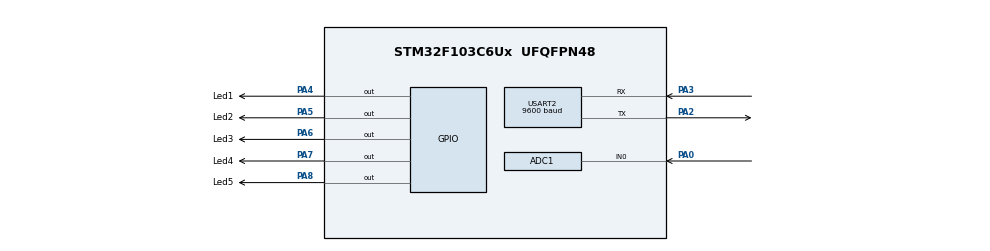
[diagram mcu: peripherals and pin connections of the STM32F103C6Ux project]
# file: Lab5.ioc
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ADC1.Channel-0\#ChannelRegularConversion=ADC_CHANNEL_0
ADC1.ContinuousConvMode=ENABLE
ADC1.NbrOfConversionFlag=1
ADC1.Rank-0\#ChannelRegularConversion=1
ADC1.SamplingTime-0\#ChannelRegularConversion=ADC_SAMPLETIME_1CYCLE_5
ADC1.master=1
Mcu.Family=STM32F1
Mcu.Name=STM32F103C6Ux
Mcu.Package=UFQFPN48
NVIC.PriorityGroup=NVIC_PRIORITYGROUP_4
NVIC.TIM2_IRQn=true\:0\:0\:false\:false\:true\:true\:true
NVIC.USART2_IRQn=true\:0\:0\:false\:false\:true\:true\:true
PA0-WKUP.Signal=ADCx_IN0
PA2.Mode=Asynchronous
PA2.Signal=USART2_TX
PA3.Mode=Asynchronous
PA3.Signal=USART2_RX
PA4.GPIO_Label=Led1
PA4.Signal=GPIO_Output
PA5.GPIO_Label=Led2
PA5.Signal=GPIO_Output
PA6.GPIO_Label=Led3
PA6.Signal=GPIO_Output
PA7.GPIO_Label=Led4
PA7.Signal=GPIO_Output
PA8.GPIO_Label=Led5
PA8.Signal=GPIO_Output
ProjectManager.HeapSize=0x200
ProjectManager.StackSize=0x400
ProjectManager.TargetToolchain=STM32CubeIDE
RCC.APB1Freq_Value=8000000
RCC.APB2Freq_Value=8000000
SH.ADCx_IN0.0=ADC1_IN0,IN0
TIM2.Period=9
TIM2.Prescaler=7999
USART2.BaudRate=9600
USART2.VirtualMode=VM_ASYNC
VP_SYS_VS_ND.Mode=No_Debug
VP_TIM2_VS_ClockSourceINT.Mode=Internal
board=custom

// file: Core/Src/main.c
/* USER CODE BEGIN Header */
/**
  ******************************************************************************
  * @file           : main.c
  * @brief          : Main program body
  ******************************************************************************
  * @attention
  *
  * <h2><center>&copy; Copyright (c) 2023 STMicroelectronics.
  * All rights reserved.</center></h2>
  *
  * This software component is licensed by ST under BSD 3-Clause license,
  * the "License"; You may not use this file except in compliance with the
  * License. You may obtain a copy of the License at:
  *                        opensource.org/licenses/BSD-3-Clause
  *
  ******************************************************************************
  */
/* USER CODE END Header */
#include "main.h"

/* USER CODE BEGIN Includes */
#include "scheduler.h"
#include <stdint.h>
#include <stdio.h>
#include <stdlib.h>
#include <string.h>
#include "software_timer.h"
#include "led_control.h"
/* USER CODE END Includes */

ADC_HandleTypeDef hadc1;

TIM_HandleTypeDef htim2;

UART_HandleTypeDef huart2;

void SystemClock_Config(void);
static void MX_GPIO_Init(void);
static void MX_TIM2_Init(void);
static void MX_USART2_UART_Init(void);
static void MX_ADC1_Init(void);

/* USER CODE BEGIN 0 */
# define MAX_BUFFER_SIZE 30

typedef enum {
	INIT,
	INPUT
} eCmdState;

typedef enum {
	BEGIN,
	IDLE,
	RST,
	ADC,
	OK
} eComState;

eComState com_state = IDLE;
eComState prev_state = IDLE;
eCmdState cmd_state = INIT;

uint8_t temp = 0;
uint8_t buffer [MAX_BUFFER_SIZE];
uint8_t index_buffer = 0;
uint8_t buffer_flag = 0;

char data[MAX_BUFFER_SIZE];
int index_data = 0;
uint32_t ADC_value = 0;
char str[30];
void HAL_UART_RxCpltCallback(UART_HandleTypeDef *huart){
	if (huart->Instance == USART2){
		HAL_UART_Transmit(&huart2, &temp, 1, 50);
		buffer[index_buffer++]=temp;
		if (index_buffer == MAX_BUFFER_SIZE) index_buffer = 0;
		buffer_flag = 1;
		HAL_UART_Receive_IT(&huart2, &temp, 1);
	}
}

void command_parser_fsm(){
	switch (cmd_state){
	case INIT:
		if (buffer[index_buffer-1] == '!') {
			cmd_state = INPUT;
		}
		memset(data, '\0', sizeof(data));
		index_data = 0;
		break;
	case INPUT:
		if (buffer[index_buffer - 1] == '!') {
			index_data = 0;
		}
		else if (buffer[index_buffer - 1] == '#'){
			cmd_state = INIT;
			com_state = BEGIN;
		}
		else {
			data[index_data] = buffer[index_buffer - 1];
			index_data++;
		}
		break;
	default:
		break;
	}
}

void uart_communication_fsm(){
	switch (com_state){
	case BEGIN:
		if (strcmp(data,"RST") == 0) com_state = RST;
		else if (strcmp(data,"OK") == 0) com_state = OK;
		else {
			if (prev_state == RST) com_state = ADC;
			else if (prev_state == ADC) com_state = RST;
			else com_state = IDLE;
		}
		memset(data, '\0', sizeof(data));
		index_data = 0;

		break;

	case IDLE:
		prev_state = IDLE;
		break;

	case RST:
		HAL_ADC_Start(&hadc1);
		ADC_value = HAL_ADC_GetValue(&hadc1);
		HAL_ADC_Stop(&hadc1);
		HAL_UART_Transmit(&huart2, (void*)str, sprintf(str,"!ADC=%ld#\r\n",ADC_value), 100);
		setTimer1(300);
		prev_state = RST;
		com_state = ADC;
		break;

	case ADC:
		if (timer1_flag == 1){
			prev_state = ADC;
			com_state = RST;
		}
		break;

	case OK:
		setTimer1(0);
		prev_state = OK;
		com_state = IDLE;
		break;
	default:
		break;
	}
}

void command(){
	if (buffer_flag == 1){
	  command_parser_fsm();
	  buffer_flag = 0;
	}
}
/* USER CODE END 0 */

int main(void)
{

  /* MCU Configuration--------------------------------------------------------*/

  /* Reset of all peripherals, Initializes the Flash interface and the Systick. */
  HAL_Init();

  /* Configure the system clock */
  SystemClock_Config();

  /* Initialize all configured peripherals */
  MX_GPIO_Init();
  MX_TIM2_Init();
  MX_USART2_UART_Init();
  MX_ADC1_Init();
  /* USER CODE BEGIN 2 */
  HAL_UART_Receive_IT(&huart2, &temp, 1);
  HAL_TIM_Base_Start_IT(&htim2);
  SCH_Add_Task(timerRun,0,1);
  SCH_Add_Task(displayLed1,0,50);
  SCH_Add_Task(command, 0, 1);
  SCH_Add_Task(uart_communication_fsm, 0, 1);
  /* USER CODE END 2 */

  /* Infinite loop */
  /* USER CODE BEGIN WHILE */
  setTimer2(50);
  while (1)
  {
	  SCH_Dispatch_Task();

    /* USER CODE END WHILE */

  }
}

void SystemClock_Config(void)
{
  RCC_OscInitTypeDef RCC_OscInitStruct = {0};
  RCC_ClkInitTypeDef RCC_ClkInitStruct = {0};
  RCC_PeriphCLKInitTypeDef PeriphClkInit = {0};

  /** Initializes the RCC Oscillators according to the specified parameters
  * in the RCC_OscInitTypeDef structure.
  */
  RCC_OscInitStruct.OscillatorType = RCC_OSCILLATORTYPE_HSI;
  RCC_OscInitStruct.HSIState = RCC_HSI_ON;
  RCC_OscInitStruct.HSICalibrationValue = RCC_HSICALIBRATION_DEFAULT;
  RCC_OscInitStruct.PLL.PLLState = RCC_PLL_NONE;
  if (HAL_RCC_OscConfig(&RCC_OscInitStruct) != HAL_OK)
  {
    Error_Handler();
  }
  /** Initializes the CPU, AHB and APB buses clocks
  */
  RCC_ClkInitStruct.ClockType = RCC_CLOCKTYPE_HCLK|RCC_CLOCKTYPE_SYSCLK
                              |RCC_CLOCKTYPE_PCLK1|RCC_CLOCKTYPE_PCLK2;
  RCC_ClkInitStruct.SYSCLKSource = RCC_SYSCLKSOURCE_HSI;
  RCC_ClkInitStruct.AHBCLKDivider = RCC_SYSCLK_DIV1;
  RCC_ClkInitStruct.APB1CLKDivider = RCC_HCLK_DIV1;
  RCC_ClkInitStruct.APB2CLKDivider = RCC_HCLK_DIV1;

  if (HAL_RCC_ClockConfig(&RCC_ClkInitStruct, FLASH_LATENCY_0) != HAL_OK)
  {
    Error_Handler();
  }
  PeriphClkInit.PeriphClockSelection = RCC_PERIPHCLK_ADC;
  PeriphClkInit.AdcClockSelection = RCC_ADCPCLK2_DIV2;
  if (HAL_RCCEx_PeriphCLKConfig(&PeriphClkInit) != HAL_OK)
  {
    Error_Handler();
  }
}

static void MX_ADC1_Init(void)
{

  ADC_ChannelConfTypeDef sConfig = {0};

  /** Common config
  */
  hadc1.Instance = ADC1;
  hadc1.Init.ScanConvMode = ADC_SCAN_DISABLE;
  hadc1.Init.ContinuousConvMode = ENABLE;
  hadc1.Init.DiscontinuousConvMode = DISABLE;
  hadc1.Init.ExternalTrigConv = ADC_SOFTWARE_START;
  hadc1.Init.DataAlign = ADC_DATAALIGN_RIGHT;
  hadc1.Init.NbrOfConversion = 1;
  if (HAL_ADC_Init(&hadc1) != HAL_OK)
  {
    Error_Handler();
  }
  /** Configure Regular Channel
  */
  sConfig.Channel = ADC_CHANNEL_0;
  sConfig.Rank = ADC_REGULAR_RANK_1;
  sConfig.SamplingTime = ADC_SAMPLETIME_1CYCLE_5;
  if (HAL_ADC_ConfigChannel(&hadc1, &sConfig) != HAL_OK)
  {
    Error_Handler();
  }

}

static void MX_TIM2_Init(void)
{

  TIM_ClockConfigTypeDef sClockSourceConfig = {0};
  TIM_MasterConfigTypeDef sMasterConfig = {0};

  htim2.Instance = TIM2;
  htim2.Init.Prescaler = 7999;
  htim2.Init.CounterMode = TIM_COUNTERMODE_UP;
  htim2.Init.Period = 9;
  htim2.Init.ClockDivision = TIM_CLOCKDIVISION_DIV1;
  htim2.Init.AutoReloadPreload = TIM_AUTORELOAD_PRELOAD_DISABLE;
  if (HAL_TIM_Base_Init(&htim2) != HAL_OK)
  {
    Error_Handler();
  }
  sClockSourceConfig.ClockSource = TIM_CLOCKSOURCE_INTERNAL;
  if (HAL_TIM_ConfigClockSource(&htim2, &sClockSourceConfig) != HAL_OK)
  {
    Error_Handler();
  }
  sMasterConfig.MasterOutputTrigger = TIM_TRGO_RESET;
  sMasterConfig.MasterSlaveMode = TIM_MASTERSLAVEMODE_DISABLE;
  if (HAL_TIMEx_MasterConfigSynchronization(&htim2, &sMasterConfig) != HAL_OK)
  {
    Error_Handler();
  }

}

static void MX_USART2_UART_Init(void)
{

  huart2.Instance = USART2;
  huart2.Init.BaudRate = 9600;
  huart2.Init.WordLength = UART_WORDLENGTH_8B;
  huart2.Init.StopBits = UART_STOPBITS_1;
  huart2.Init.Parity = UART_PARITY_NONE;
  huart2.Init.Mode = UART_MODE_TX_RX;
  huart2.Init.HwFlowCtl = UART_HWCONTROL_NONE;
  huart2.Init.OverSampling = UART_OVERSAMPLING_16;
  if (HAL_UART_Init(&huart2) != HAL_OK)
  {
    Error_Handler();
  }

}

static void MX_GPIO_Init(void)
{
  GPIO_InitTypeDef GPIO_InitStruct = {0};

  /* GPIO Ports Clock Enable */
  __HAL_RCC_GPIOA_CLK_ENABLE();

  /*Configure GPIO pin Output Level */
  HAL_GPIO_WritePin(GPIOA, Led1_Pin|Led2_Pin|Led3_Pin|Led4_Pin
                          |Led5_Pin, GPIO_PIN_RESET);

  /*Configure GPIO pins : Led1_Pin Led2_Pin Led3_Pin Led4_Pin
                           Led5_Pin */
  GPIO_InitStruct.Pin = Led1_Pin|Led2_Pin|Led3_Pin|Led4_Pin
                          |Led5_Pin;
  GPIO_InitStruct.Mode = GPIO_MODE_OUTPUT_PP;
  GPIO_InitStruct.Pull = GPIO_NOPULL;
  GPIO_InitStruct.Speed = GPIO_SPEED_FREQ_LOW;
  HAL_GPIO_Init(GPIOA, &GPIO_InitStruct);

}

/* USER CODE BEGIN 4 */
void HAL_TIM_PeriodElapsedCallback(TIM_HandleTypeDef *htim){
	SCH_Update();
}
/* USER CODE END 4 */

void Error_Handler(void)
{
  __disable_irq();
  while (1)
  {
  }
}

/************************ (C) COPYRIGHT STMicroelectronics *****END OF FILE****/
